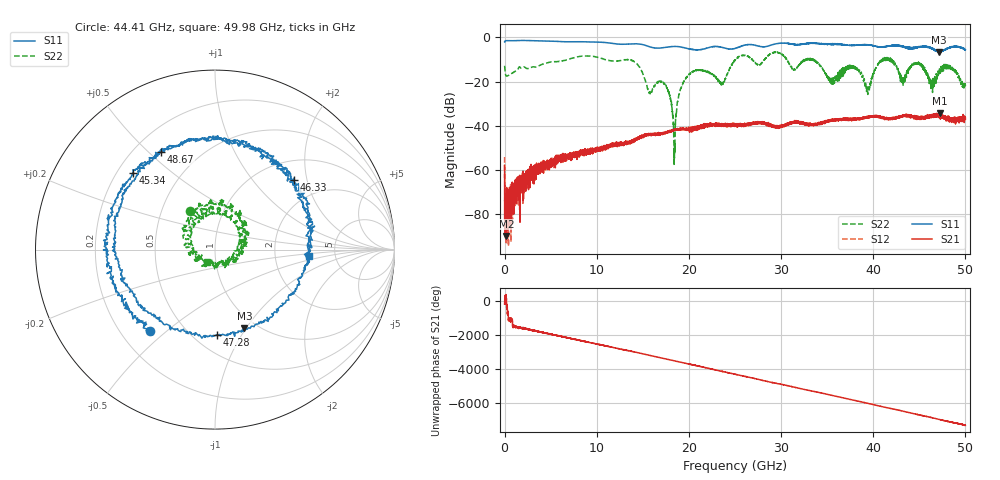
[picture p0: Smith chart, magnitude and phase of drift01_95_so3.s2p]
!Created with skrf (http://scikit-rf.org).
# Hz S RI R 50.0
!freq ReS11 ImS11 ReS21 ImS21 ReS12 ImS12 ReS22 ImS22
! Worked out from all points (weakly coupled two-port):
!   10001 points, 300 kHz to 50 GHz, reference 50 ohm
!   highest |S21| = -34.24 dB at 47.21 GHz (marker M1); lowest = -89.9 dB at 190.3 MHz (marker M2)
!   lowest |S11| = -6.6 dB at 47.15 GHz (marker M3), VSWR 2.76, Z = 43.8 - j49.2 ohm
!   |S11| at or under -10 dB: nowhere
!   |S22| runs from -58.1 to -6.6 dB; largest |S21 - S12| = 0.004
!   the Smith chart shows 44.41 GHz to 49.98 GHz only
!   S11 on the Smith chart (normalised r, x): 44.41 GHz: 0.32, -0.44; 45.34 GHz: 0.27, +0.37; 46.33 GHz: 1.40, +1.67; 47.28 GHz: 0.64, -0.79; 48.67 GHz: 0.31, +0.55; 49.98 GHz: 3.16, -0.32
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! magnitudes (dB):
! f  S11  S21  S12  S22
! 300 kHz  -2.1  -57.8  -54.2  -12.8
! 190.3 MHz  -1.4  -89.9  -79.4  -17.5
! 8.335 GHz  -1.9  -52.9  -52.5  -8.5
! 16.67 GHz  -4.8  -43.7  -44.1  -20.0
! 17.74 GHz  -4.3  -43.1  -42.7  -24.0
! 18.44 GHz  -4.1  -42.0  -42.1  -50.2
! 19.9 GHz  -5.1  -41.7  -41.5  -17.2
! 23.6 GHz  -4.5  -39.9  -39.4  -20.5
! 25 GHz  -5.0  -39.4  -39.5  -10.5
! 33.34 GHz  -2.6  -39.3  -39.5  -9.9
! 39.35 GHz  -3.3  -35.9  -36.0  -22.9
! 41.67 GHz  -3.8  -36.6  -36.7  -10.0
! 43.19 GHz  -4.3  -35.5  -35.9  -19.2
! 44.41 GHz  -4.7  -35.7  -35.9  -11.8
! 45.34 GHz  -4.1  -36.3  -36.6  -13.6
! 46.33 GHz  -4.6  -35.0  -35.4  -20.0
! 47.15 GHz  -6.6  -35.0  -36.0  -15.3
! 47.21 GHz  -6.1  -34.2  -35.5  -14.5
! 47.28 GHz  -6.5  -35.6  -35.4  -16.1
! 48.67 GHz  -4.1  -37.8  -36.9  -14.1
! 49.98 GHz  -5.6  -37.0  -36.6  -21.6
! 50 GHz  -5.6  -37.0  -36.6  -21.9
